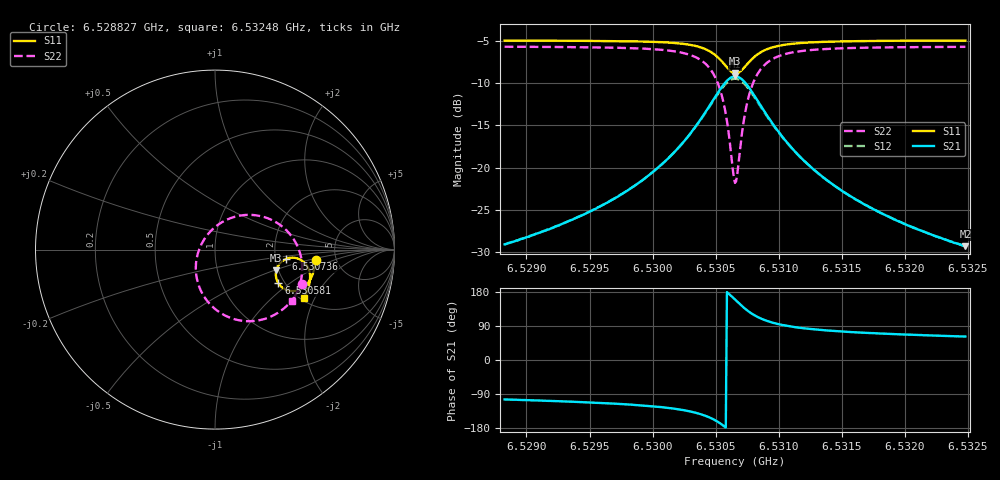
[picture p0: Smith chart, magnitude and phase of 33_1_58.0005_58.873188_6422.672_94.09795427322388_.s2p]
#  HZ  S  RI  R  50.00
! Rohde & Schwarz Vector Network Analyzer
! Rohde-Schwarz,ZNB20-2Port,1311601062101988,3.16
! Created: UTC 3/21/2024, 12:51:45 AM
! freq[Hz]  re:S11  im:S11  re:S21  im:S21  re:S12  im:S12  re:S22  im:S22
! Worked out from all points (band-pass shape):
!   401 points, 6.528827 GHz to 6.53248 GHz, reference 50 ohm
!   highest |S21| = -9.20 dB at 6.530654 GHz (marker M1); lowest = -29.3 dB at 6.53248 GHz (marker M2)
!   |S21| within 3 dB of the highest: 6.530472 GHz to 6.530838 GHz (365.5 kHz wide, 0.0056 % of centre)
!   lowest |S11| = -8.9 dB at 6.530654 GHz (marker M3), VSWR 2.13, Z = 97.4 - j25.7 ohm
!   |S11| at or under -10 dB: nowhere
!   |S22| runs from -21.8 to -5.7 dB; largest |S21 - S12| = 0.015
!   S11 on the Smith chart (normalised r, x): 6.528827 GHz: 3.47, -0.60; 6.530581 GHz: 1.85, -0.83; 6.530736 GHz: 2.28, -0.29; 6.53248 GHz: 2.08, -1.66
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6.5288267e9  0.5608 -0.0593  -0.00857 -0.0341  -0.00927 -0.0339  0.4821 -0.1923
6.5294387e9  0.5512 -0.1126  -0.0189 -0.0486  -0.0201 -0.0482  0.449 -0.254
6.5297675e9  0.5408 -0.1454  -0.0316 -0.0631  -0.0332 -0.0623  0.4157 -0.2971
6.5300507e9  0.5235 -0.1793  -0.0561 -0.0839  -0.0586 -0.0824  0.3603 -0.3458
6.5302699e9  0.4933 -0.2113  -0.1033 -0.1076  -0.1068 -0.1037  0.2649 -0.3893
6.5304252e9  0.4435 -0.2308  -0.1835 -0.1146  -0.1861 -0.1062  0.1181 -0.3901
6.5305166e9  0.3918 -0.2219  -0.2644 -0.0809  -0.2627 -0.0688  -0.0155 -0.3166
6.5305531e9  0.3683 -0.2059  -0.2994 -0.0464  -0.2941 -0.0338  -0.0673 -0.2506
6.5305805e9  0.3529 -0.1872  -0.3208 -0.00904  -0.3127 0.00252  -0.0955 -0.1843
6.5306353e9  0.339 -0.1342  -0.3333 0.0875  -0.3202 0.0942  -0.0959 -0.0223
6.5306536e9  0.3417 -0.1149  -0.3246 0.1217  -0.311 0.1257  -0.0748 0.0315
6.5306719e9  0.3487 -0.0964  -0.3094 0.1532  -0.2958 0.155  -0.0437 0.0805
6.5307084e9  0.3722 -0.0668  -0.2637 0.2032  -0.2522 0.2009  0.0404 0.1536
6.5307358e9  0.3945 -0.053  -0.2229 0.2258  -0.2137 0.2218  0.1118 0.1833
6.5307632e9  0.4173 -0.0463  -0.1825 0.2365  -0.1755 0.2319  0.1809 0.1935
6.5307997e9  0.4447 -0.0461  -0.1345 0.2364  -0.13 0.2322  0.2613 0.1848
6.5308911e9  0.4914 -0.0663  -0.0553 0.2051  -0.0534 0.2025  0.3906 0.1146
6.5310281e9  0.5201 -0.1043  -0.00652 0.1523  -0.00527 0.1513  0.4643 0.00778
6.5312656e9  0.5299 -0.1513  0.015 0.098  0.016 0.0977  0.4861 -0.1047
6.5315396e9  0.5264 -0.1875  0.0187 0.0672  0.0198 0.067  0.4781 -0.1751
6.5318776e9  0.5172 -0.2214  0.0184 0.0475  0.0193 0.0473  0.4614 -0.2281
6.5324805e9  0.4965 -0.2704  0.0161 0.0303  0.0167 0.0299  0.4301 -0.2891
